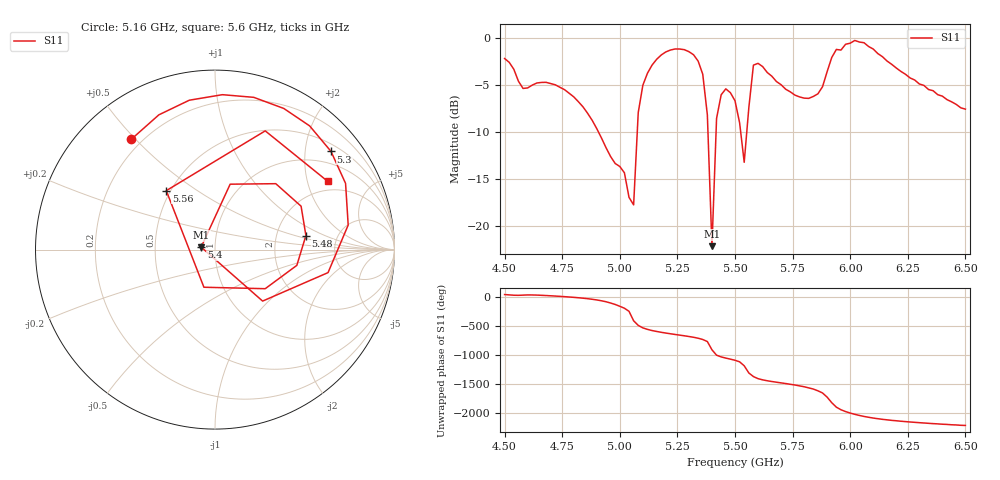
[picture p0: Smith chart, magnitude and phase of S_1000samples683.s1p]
! TOUCHSTONE file generated by CST MICROWAVE STUDIO
! Date and time: Sat Oct 29 00:42:15 2022
! Project name: L.cst
! Parameters = {Di=1.27; Epsilon_r=1.56; InnerDiameter=1.27; Length=2; Lf=10; Lg=60; OuterConductorThickness=0.2921; OuterDiameter=3.6; Wf=3; Wp=41.2; de=1.5; df=6.8; g=0.8; gx=1.08562; gy=0.50103; h=2.34; hf=1.524; px=9.54968; py=14.7218; w=9.7; wx=8.46406; wy=14.2208}
! Header version: 2018
! Port assignment regex: !\s*Touchstone port\s*([0-9]+)\s*=\s*(CST MWS port|CST DS port)\s*([0-9]+|Zmin|Zmax)\s*\(\"(.*)\"\)(\s*mode\s*([0-9]+))?.*
! Touchstone port assignment:
! Touchstone port 1 = CST MWS port 1 ("")
# GHz S DB R 50
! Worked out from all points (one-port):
!   101 points, 4.5 GHz to 6.5 GHz, reference 50 ohm
!   lowest |S11| = -22.1 dB at 5.4 GHz (marker M1), VSWR 1.17, Z = 42.8 + j1.18 ohm
!   |S11| at or under -10 dB: 4.908 GHz to 5.076 GHz (168.1 MHz wide, 3.37 % of centre); 5.383 GHz to 5.418 GHz (35.22 MHz wide, 0.652 % of centre); 5.524734 GHz to 5.551065 GHz (26.33 MHz wide, 0.475 % of centre)
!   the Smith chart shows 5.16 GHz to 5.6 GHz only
!   S11 on the Smith chart (normalised r, x): 5.16 GHz: 0.16, +0.49; 5.3 GHz: 0.67, +2.58; 5.4 GHz: 0.86, +0.02; 5.48 GHz: 2.95, +0.63; 5.56 GHz: 0.47, +0.38; 5.6 GHz: 1.63, +2.69
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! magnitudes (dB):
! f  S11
! 4.5 GHz  -2.2
! 4.58 GHz  -5.4
! 4.76 GHz  -5.5
! 5 GHz  -13.7
! 5.06 GHz  -17.7
! 5.08 GHz  -7.9
! 5.1 GHz  -5.0
! 5.16 GHz  -2.3
! 5.26 GHz  -1.2
! 5.3 GHz  -1.4
! 5.36 GHz  -3.8
! 5.38 GHz  -8.2
! 5.4 GHz  -22.1
! 5.42 GHz  -8.5
! 5.44 GHz  -6.0
! 5.48 GHz  -5.8
! 5.5 GHz  -6.7
! 5.52 GHz  -9.0
! 5.54 GHz  -13.2
! 5.56 GHz  -7.4
! 5.58 GHz  -2.9
! 5.6 GHz  -2.7
! 5.76 GHz  -6.1
! 5.86 GHz  -5.9
! 5.94 GHz  -1.2
! 6 GHz  -0.5
! 6.26 GHz  -4.2
! 6.5 GHz  -7.6
